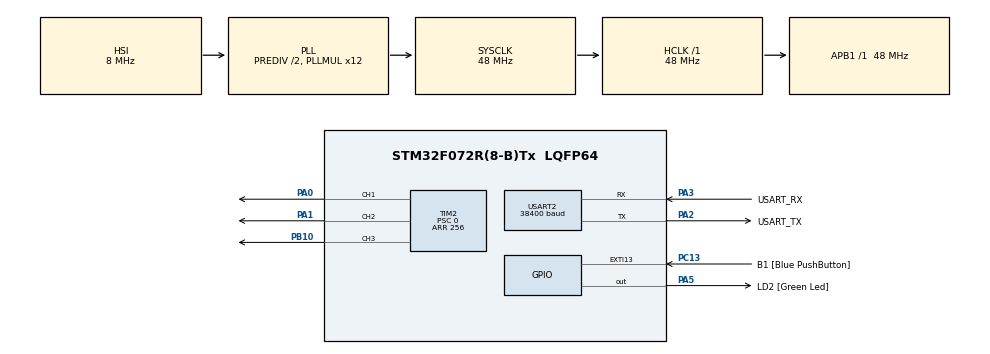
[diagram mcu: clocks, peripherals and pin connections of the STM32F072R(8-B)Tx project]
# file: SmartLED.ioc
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Mcu.Family=STM32F0
Mcu.Name=STM32F072R(8-B)Tx
Mcu.Package=LQFP64
PA0.GPIO_ModeDefaultPP=GPIO_MODE_AF_PP
PA0.GPIO_PuPd=GPIO_PULLUP
PA0.GPIO_Speed=GPIO_SPEED_LOW
PA0.Signal=S_TIM2_CH1_ETR
PA1.GPIO_ModeDefaultPP=GPIO_MODE_AF_PP
PA1.GPIO_PuPd=GPIO_PULLUP
PA1.GPIO_Speed=GPIO_SPEED_LOW
PA1.Signal=S_TIM2_CH2
PA13.GPIO_Label=TMS
PA13.Mode=Serial-WireDebug
PA13.Signal=SYS_SWDIO
PA14.GPIO_Label=TCK
PA14.Mode=Serial-WireDebug
PA14.Signal=SYS_SWCLK
PA2.GPIO_Label=USART_TX
PA2.GPIO_Mode=GPIO_MODE_AF_PP
PA2.GPIO_PuPd=GPIO_NOPULL
PA2.GPIO_Speed=GPIO_SPEED_LOW
PA2.Mode=Asynchronous
PA2.Signal=USART2_TX
PA3.GPIO_Label=USART_RX
PA3.GPIO_Mode=GPIO_MODE_AF_PP
PA3.GPIO_PuPd=GPIO_NOPULL
PA3.GPIO_Speed=GPIO_SPEED_LOW
PA3.Mode=Asynchronous
PA3.Signal=USART2_RX
PA5.GPIO_Label=LD2 [Green Led]
PA5.GPIO_Mode=GPIO_MODE_OUTPUT_PP
PA5.GPIO_ModeDefaultOutputPP=GPIO_MODE_OUTPUT_PP
PA5.GPIO_PuPd=GPIO_NOPULL
PA5.GPIO_Speed=GPIO_SPEED_LOW
PA5.Signal=GPIO_Output
PB10.GPIO_ModeDefaultPP=GPIO_MODE_AF_PP
PB10.GPIO_PuPd=GPIO_PULLUP
PB10.GPIO_Speed=GPIO_SPEED_LOW
PB10.Signal=S_TIM2_CH3
PC13.GPIO_Label=B1 [Blue PushButton]
PC13.GPIO_ModeDefaultEXTI=GPIO_MODE_EVT_RISING
PC13.GPIO_PuPd=GPIO_NOPULL
PC13.Signal=GPXTI13
PC14-OSC32_IN.Signal=RCC_OSC32_IN
PC15-OSC32_OUT.Signal=RCC_OSC32_OUT
PF0-OSC_IN.Signal=RCC_OSC_IN
PF1-OSC_OUT.Signal=RCC_OSC_OUT
ProjectManager.TargetToolchain=MDK-ARM 4.73
RCC.AHBFreq_Value=48000000
RCC.APB1Freq_Value=48000000
RCC.APB1TimFreq_Value=48000000
RCC.HCLKFreq_Value=48000000
RCC.PLLDivider=RCC_PREDIV_DIV2
RCC.PLLMUL=RCC_PLL_MUL12
RCC.SYSCLKFreq_VALUE=48000000
RCC.SYSCLKSource=RCC_SYSCLKSOURCE_PLLCLK
RCC.Usart1ClockSelection=RCC_USART1CLKSOURCE_HSI
RCC.Usart2ClockSelection=RCC_USART2CLKSOURCE_HSI
SH.S_TIM2_CH1_ETR.0=TIM2_CH1,PWM Generation1 CH1
SH.S_TIM2_CH2.0=TIM2_CH2,PWM Generation2 CH2
SH.S_TIM2_CH3.0=TIM2_CH3,PWM Generation3 CH3
TIM2.Channel-PWM\ Generation2\ CH2=TIM_CHANNEL_2
TIM2.Channel-PWM\ Generation3\ CH3=TIM_CHANNEL_3
TIM2.Period=256
TIM2.Prescaler=0
TIM2.Pulse-PWM\ Generation1\ CH1=80
TIM2.Pulse-PWM\ Generation2\ CH2=160
TIM2.Pulse-PWM\ Generation3\ CH3=240
USART2.BaudRate=38400
USART2.WordLength-Asynchronous=UART_WORDLENGTH_8B

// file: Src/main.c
/**
  ******************************************************************************
  * File Name          : main.c
  * Date               : 17/12/2014 19:03:19
  * Description        : Main program body
  ******************************************************************************
  *
  * COPYRIGHT(c) 2014 STMicroelectronics
  *
  * Redistribution and use in source and binary forms, with or without modification,
  * are permitted provided that the following conditions are met:
  *   1. Redistributions of source code must retain the above copyright notice,
  *      this list of conditions and the following disclaimer.
  *   2. Redistributions in binary form must reproduce the above copyright notice,
  *      this list of conditions and the following disclaimer in the documentation
  *      and/or other materials provided with the distribution.
  *   3. Neither the name of STMicroelectronics nor the names of its contributors
  *      may be used to endorse or promote products derived from this software
  *      without specific prior written permission.
  *
  * THIS SOFTWARE IS PROVIDED BY THE COPYRIGHT HOLDERS AND CONTRIBUTORS "AS IS"
  * AND ANY EXPRESS OR IMPLIED WARRANTIES, INCLUDING, BUT NOT LIMITED TO, THE
  * IMPLIED WARRANTIES OF MERCHANTABILITY AND FITNESS FOR A PARTICULAR PURPOSE ARE
  * DISCLAIMED. IN NO EVENT SHALL THE COPYRIGHT HOLDER OR CONTRIBUTORS BE LIABLE
  * FOR ANY DIRECT, INDIRECT, INCIDENTAL, SPECIAL, EXEMPLARY, OR CONSEQUENTIAL
  * DAMAGES (INCLUDING, BUT NOT LIMITED TO, PROCUREMENT OF SUBSTITUTE GOODS OR
  * SERVICES; LOSS OF USE, DATA, OR PROFITS; OR BUSINESS INTERRUPTION) HOWEVER
  * CAUSED AND ON ANY THEORY OF LIABILITY, WHETHER IN CONTRACT, STRICT LIABILITY,
  * OR TORT (INCLUDING NEGLIGENCE OR OTHERWISE) ARISING IN ANY WAY OUT OF THE USE
  * OF THIS SOFTWARE, EVEN IF ADVISED OF THE POSSIBILITY OF SUCH DAMAGE.
  *
  ******************************************************************************
  */

#include "stm32f0xx_hal.h"
#include "stdbool.h"
#include "string.h"

TIM_HandleTypeDef htim2;

UART_HandleTypeDef huart2;

void SystemClock_Config(void);
static void MX_GPIO_Init(void);
static void MX_TIM2_Init(void);
static void MX_USART2_UART_Init(void);

/* USER CODE BEGIN PFP */
void scheduler( void );
bool serial2_in(uint8_t *pchByte);
bool serial2_out(uint8_t chByte) ;

/* USER CODE END PFP */

int main(void)
{

  /* MCU Configuration----------------------------------------------------------*/

  /* Reset of all peripherals, Initializes the Flash interface and the Systick. */
  HAL_Init();

  /* Configure the system clock */
  SystemClock_Config();

  /* Initialize all configured peripherals */
  MX_GPIO_Init();
  MX_TIM2_Init();
  MX_USART2_UART_Init();

  /* USER CODE BEGIN 2 */
    HAL_TIM_PWM_Start(&htim2,TIM_CHANNEL_1);
	HAL_TIM_PWM_Start(&htim2,TIM_CHANNEL_2);
	HAL_TIM_PWM_Start(&htim2,TIM_CHANNEL_3);
  /* USER CODE END 2 */

  /* USER CODE BEGIN 3 */
  /* Infinite loop */
  while (1)
  {
	scheduler();
  }
  /* USER CODE END 3 */

}

/** System Clock Configuration
*/
void SystemClock_Config(void)
{

  RCC_OscInitTypeDef RCC_OscInitStruct;
  RCC_ClkInitTypeDef RCC_ClkInitStruct;
  RCC_PeriphCLKInitTypeDef PeriphClkInit;

  RCC_OscInitStruct.OscillatorType = RCC_OSCILLATORTYPE_HSI;
  RCC_OscInitStruct.HSIState = RCC_HSI_ON;
  RCC_OscInitStruct.HSICalibrationValue = 16;
  RCC_OscInitStruct.PLL.PLLState = RCC_PLL_ON;
  RCC_OscInitStruct.PLL.PLLSource = RCC_PLLSOURCE_HSI;
  RCC_OscInitStruct.PLL.PLLMUL = RCC_PLL_MUL12;
  RCC_OscInitStruct.PLL.PREDIV = RCC_PREDIV_DIV2;
  HAL_RCC_OscConfig(&RCC_OscInitStruct);

  RCC_ClkInitStruct.ClockType = RCC_CLOCKTYPE_SYSCLK;
  RCC_ClkInitStruct.SYSCLKSource = RCC_SYSCLKSOURCE_PLLCLK;
  RCC_ClkInitStruct.AHBCLKDivider = RCC_SYSCLK_DIV1;
  RCC_ClkInitStruct.APB1CLKDivider = RCC_HCLK_DIV1;
  HAL_RCC_ClockConfig(&RCC_ClkInitStruct, FLASH_LATENCY_1);

  PeriphClkInit.PeriphClockSelection = RCC_PERIPHCLK_USART2;
  PeriphClkInit.Usart2ClockSelection = RCC_USART2CLKSOURCE_HSI;
  HAL_RCCEx_PeriphCLKConfig(&PeriphClkInit);

  __SYSCFG_CLK_ENABLE();

}

/* TIM2 init function */
void MX_TIM2_Init(void)
{

  TIM_MasterConfigTypeDef sMasterConfig;
  TIM_OC_InitTypeDef sConfigOC;

  htim2.Instance = TIM2;
  htim2.Init.Prescaler = 1875;
  htim2.Init.CounterMode = TIM_COUNTERMODE_UP;
  htim2.Init.Period = 256;
  htim2.Init.ClockDivision = TIM_CLOCKDIVISION_DIV1;
  HAL_TIM_PWM_Init(&htim2);

  sMasterConfig.MasterOutputTrigger = TIM_TRGO_RESET;
  sMasterConfig.MasterSlaveMode = TIM_MASTERSLAVEMODE_DISABLE;
  HAL_TIMEx_MasterConfigSynchronization(&htim2, &sMasterConfig);

  sConfigOC.OCMode = TIM_OCMODE_PWM1;
  sConfigOC.Pulse = 80;
  sConfigOC.OCPolarity = TIM_OCPOLARITY_HIGH;
  sConfigOC.OCFastMode = TIM_OCFAST_DISABLE;
  HAL_TIM_PWM_ConfigChannel(&htim2, &sConfigOC, TIM_CHANNEL_1);

  sConfigOC.Pulse = 160;
  HAL_TIM_PWM_ConfigChannel(&htim2, &sConfigOC, TIM_CHANNEL_2);

  sConfigOC.Pulse = 240;
  HAL_TIM_PWM_ConfigChannel(&htim2, &sConfigOC, TIM_CHANNEL_3);

}

/* USART2 init function */
void MX_USART2_UART_Init(void)
{

  huart2.Instance = USART2;
  huart2.Init.BaudRate = 9600;//38400;
  huart2.Init.WordLength = UART_WORDLENGTH_8B;
  huart2.Init.StopBits = UART_STOPBITS_1;
  huart2.Init.Parity = UART_PARITY_NONE;
  huart2.Init.Mode = UART_MODE_TX_RX;
  huart2.Init.HwFlowCtl = UART_HWCONTROL_NONE;
  huart2.Init.OverSampling = UART_OVERSAMPLING_16;
  huart2.Init.OneBitSampling = UART_ONEBIT_SAMPLING_DISABLED ;
  huart2.AdvancedInit.AdvFeatureInit = UART_ADVFEATURE_NO_INIT;
  HAL_UART_Init(&huart2);

}

/** Configure pins as
        * Analog
        * Input
        * Output
        * EVENT_OUT
        * EXTI
*/
void MX_GPIO_Init(void)
{

  GPIO_InitTypeDef GPIO_InitStruct;

  /* GPIO Ports Clock Enable */
  __GPIOC_CLK_ENABLE();
  __GPIOF_CLK_ENABLE();
  __GPIOA_CLK_ENABLE();
  __GPIOB_CLK_ENABLE();

  /*Configure GPIO pin : PC13 */
  GPIO_InitStruct.Pin = GPIO_PIN_13;
  GPIO_InitStruct.Mode = GPIO_MODE_EVT_RISING;
  GPIO_InitStruct.Pull = GPIO_NOPULL;
  HAL_GPIO_Init(GPIOC, &GPIO_InitStruct);

  /*Configure GPIO pin : PA5 */
  GPIO_InitStruct.Pin = GPIO_PIN_5;
  GPIO_InitStruct.Mode = GPIO_MODE_OUTPUT_PP;
  GPIO_InitStruct.Pull = GPIO_NOPULL;
  GPIO_InitStruct.Speed = GPIO_SPEED_LOW;
  HAL_GPIO_Init(GPIOA, &GPIO_InitStruct);
}

/* USER CODE BEGIN 4 */

//! \name finit state machine state
//! @{
typedef enum {
    fsm_rt_err          = -1,    //!< fsm error, error code can be get from other interface
    fsm_rt_cpl          = 0,     //!< fsm complete
    fsm_rt_on_going     = 1,     //!< fsm on-going
} fsm_rt_t;
//! @}

static uint8_t analysis_val(uint8_t chValH, uint8_t chValL);
static void adjust(void);
static fsm_rt_t task_receive(void);
static fsm_rt_t task_adjust(void);
static fsm_rt_t task_delay(void);
static fsm_rt_t delay(void);
static bool s_bFlag = false;
static bool s_bRgbUpdataFlag = false;

static uint8_t s_chRVal = 0;
static uint8_t s_chGVal = 0;
static uint8_t s_chBVal = 0;
/****************************************************************************/
/**
 * Function Name: void scheduler( void )
 * Description: none
 *
 * Param:   none
 * Return:  none
 * Author:
 ****************************************************************************/
void scheduler( void )
{
	uint8_t chByte;
    while(!serial2_out('S'));
    while(!serial2_out('m'));
    while(!serial2_out('a'));
    while(!serial2_out('r'));
    while(!serial2_out('t'));
    while(!serial2_out('L'));
	while(!serial2_out('E'));
	while(!serial2_out('D'));
    while(!serial2_out('\r'));
    while(!serial2_out('\n'));

    /* loop here forever */
	while(1){
	//	if (serial2_in(&chByte)) {
    //       serial2_out(chByte);
    //    }
        task_receive();
		task_adjust();
        //task_delay();
	}

}

#define TASK_RECEIVE_RESET_FSM()	\
	do{	\
		s_tState = START;\
	}while(0)
static fsm_rt_t task_receive(void)
{
	static uint8_t s_chLedVal[8];
	static uint8_t s_chLedInd = 0;
	static uint32_t s_wReceiveCounter = 0x2ffff;
	static enum{
		START=0,
		IDLE,
		RECEIVE,
		ANALYSIS
	}s_tState = START;
	switch (s_tState){
		case START:
			s_chLedVal[0] = 0x00;
		s_chLedVal[1] = 0x00;
		s_chLedVal[2] = 0x00;
		s_chLedVal[3] = 0x00;
		s_chLedVal[4] = 0x00;
		s_chLedVal[5] = 0x00;
		s_chLedVal[6] = 0x00;
		s_chLedVal[7] = 0x00;

			s_chLedInd = 0;
			s_wReceiveCounter = 0x2ffff;
			s_tState = IDLE;

		case IDLE:
			if(serial2_in(&s_chLedVal[s_chLedInd])){
				if('*'==s_chLedVal[s_chLedInd]){/*'*' is start mark*/
					s_chLedInd++;
					s_tState = RECEIVE;
				}else{
					s_tState = IDLE;
				}
			}
			break;

		case RECEIVE:
			if(serial2_in(&s_chLedVal[s_chLedInd])){
				if('#'==s_chLedVal[s_chLedInd]){/*'#' is end mark*/
					if(7 == s_chLedInd){/*verify length */
						s_tState = ANALYSIS;
					}else{
						s_tState = START;
					}
				}
				s_chLedInd++;
			}
			/*time out*/
			s_wReceiveCounter--;
			if(0 == s_wReceiveCounter){
				TASK_RECEIVE_RESET_FSM();
			}
			break;

		case ANALYSIS:
			s_chRVal = analysis_val(s_chLedVal[1],s_chLedVal[2]);
			s_chGVal = analysis_val(s_chLedVal[3],s_chLedVal[4]);
			s_chBVal = analysis_val(s_chLedVal[5],s_chLedVal[6]);
			s_bRgbUpdataFlag = true;
			TASK_RECEIVE_RESET_FSM();
			return fsm_rt_cpl;
	}
	return fsm_rt_on_going;
}

static uint8_t analysis_val(uint8_t chValH, uint8_t chValL)
{
	uint8_t chVal = 0;
	if((chValH >= 48) && (chValH <= 57)){/*'0'~'9'*/
		chVal = (chValH-48)<<4;
	}else if((chValH >= 65) && (chValH <= 70)){/*'A'~'F'*/
		chVal = (chValH-55)<<4;
	}

	if((chValL >= 48) && (chValL <= 57)){/*'0'~'9'*/
		chVal |= chValL-48;
	}else if((chValH >= 65) && (chValH <= 70)){/*'A'~'F'*/
		chVal |= chValL-55;
	}

	return chVal;
}

#define TASK_ADJUST_RESET_FSM()	\
	do{	\
		s_tState = START;\
	}while(0)
static fsm_rt_t task_adjust(void)
{
	static enum{
		START=0,
		IDLE,
		ADJUST
	}s_tState = START;
	switch(s_tState){
		case START:
			s_tState = IDLE;

		case IDLE:
			if(s_bRgbUpdataFlag){
				s_bRgbUpdataFlag = false;
				s_tState = ADJUST;
			}
			break;

		case ADJUST:
			adjust();
			while(!serial2_out('O'));
			while(!serial2_out('K'));
			while(!serial2_out('\r'));
			while(!serial2_out('\n'));
			TASK_ADJUST_RESET_FSM();
			return fsm_rt_cpl;
	}

	return fsm_rt_on_going;
}

static void adjust(void)
{
	TIM_OC_InitTypeDef sConfigOC;

	sConfigOC.OCMode = TIM_OCMODE_PWM1;
    sConfigOC.OCPolarity = TIM_OCPOLARITY_HIGH;
    sConfigOC.OCFastMode = TIM_OCFAST_DISABLE;

	sConfigOC.Pulse = s_chRVal;
	HAL_TIM_PWM_ConfigChannel(&htim2, &sConfigOC, TIM_CHANNEL_1);

	sConfigOC.Pulse = s_chGVal;
	HAL_TIM_PWM_ConfigChannel(&htim2, &sConfigOC, TIM_CHANNEL_2);

	sConfigOC.Pulse = s_chBVal;
	HAL_TIM_PWM_ConfigChannel(&htim2, &sConfigOC, TIM_CHANNEL_3);

	HAL_TIM_PWM_Start(&htim2,TIM_CHANNEL_1);
	HAL_TIM_PWM_Start(&htim2,TIM_CHANNEL_2);
	HAL_TIM_PWM_Start(&htim2,TIM_CHANNEL_3);
}

#define TASK_DELAY_RESET_FSM()	\
	do{	\
		s_tTaskDelayState = TASK_DELAY_START;	\
	}while(0)
static  fsm_rt_t task_delay(void)
{
	static enum{
		TASK_DELAY_START=0,
		TASK_DELAY_ING
	}s_tTaskDelayState = TASK_DELAY_START;
	switch(s_tTaskDelayState){
		case TASK_DELAY_START:
			s_bFlag = false;

		case TASK_DELAY_ING:
			if(fsm_rt_cpl == delay()){
				s_bFlag = true;
				TASK_DELAY_RESET_FSM();
				return fsm_rt_on_going;
			}
	}
	return fsm_rt_on_going;
}

#define DELAY_RESET_FSM()	\
	do{	\
		s_tDelaytState = DELAY_START;	\
	}while(0)
#define DEALY_TIME (0xff)

static fsm_rt_t delay(void)
{
	static enum{
		DELAY_START = 0,
		DELAY
	}s_tDelaytState = DELAY_START;
	static uint32_t s_wDelayCounter = 0;
	switch(s_tDelaytState){
		case DELAY_START:
			s_wDelayCounter = 0;
			s_tDelaytState = DELAY;

		case DELAY:
			s_wDelayCounter ++;
			if(s_wDelayCounter > DEALY_TIME){
				s_wDelayCounter = 0;
				DELAY_RESET_FSM();
				return fsm_rt_cpl;
			}
			break;
	}
	return fsm_rt_on_going;
}

bool serial2_out(uint8_t chByte)
{
    bool bUartState;
	if(HAL_UART_Transmit(&huart2,&chByte,1,10) == HAL_OK){
		bUartState = true;
	}else{
		bUartState = false;
	}
    return bUartState;
}

bool serial2_in(uint8_t *pchByte)
{
    bool bUartState;
    if(0 == pchByte){
         bUartState = false;
    }else{
        if(HAL_UART_Receive(&huart2,pchByte,1,0x1fffff) == HAL_OK){
			bUartState = true;
		}else{
			bUartState = false;
		}
	}
    return bUartState;
}
/* USER CODE END 4 */

/************************ (C) COPYRIGHT STMicroelectronics *****END OF FILE****/
